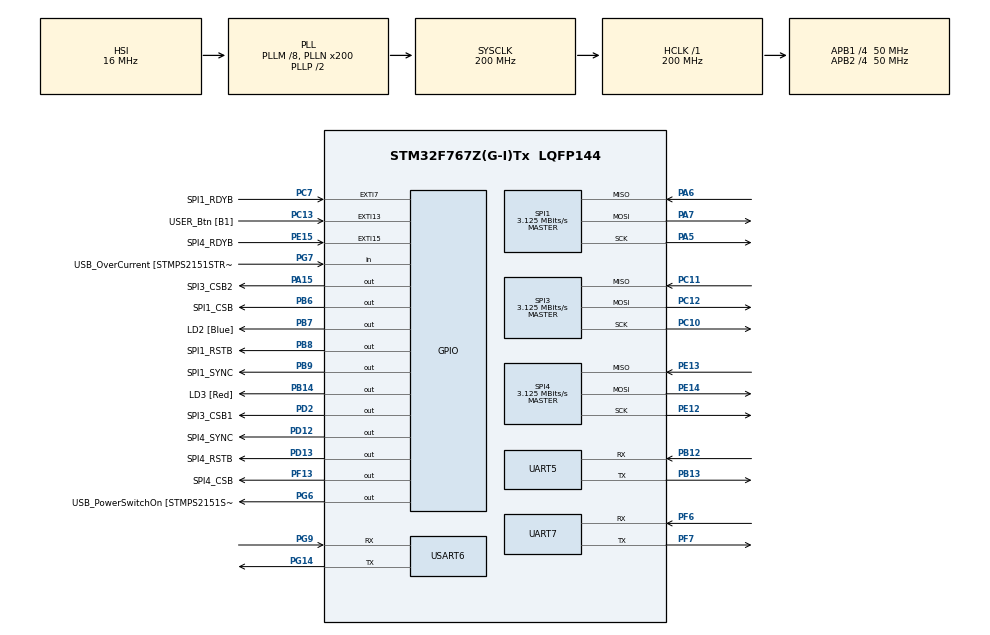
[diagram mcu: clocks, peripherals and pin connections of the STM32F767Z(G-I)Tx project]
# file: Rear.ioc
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Mcu.Family=STM32F7
Mcu.Name=STM32F767Z(G-I)Tx
Mcu.Package=LQFP144
NVIC.EXTI15_10_IRQn=true\:1\:0\:true\:false\:true\:true
NVIC.EXTI9_5_IRQn=true\:1\:0\:true\:false\:true\:true
NVIC.PriorityGroup=NVIC_PRIORITYGROUP_3
NVIC.TIM1_UP_TIM10_IRQn=true\:0\:0\:false\:false\:true\:true
NVIC.USART6_IRQn=true\:1\:0\:true\:false\:true\:true
PA1.GPIO_Label=RMII_REF_CLK [LAN8742A-CZ-TR_REFCLK0]
PA1.Signal=ETH_REF_CLK
PA10.GPIO_Label=USB_ID
PA10.Signal=USB_OTG_FS_ID
PA11.GPIO_Label=USB_DM
PA11.Signal=USB_OTG_FS_DM
PA12.GPIO_Label=USB_DP
PA12.Signal=USB_OTG_FS_DP
PA13.GPIO_Label=TMS
PA13.Signal=SYS_JTMS-SWDIO
PA14.GPIO_Label=TCK
PA14.Signal=SYS_JTCK-SWCLK
PA15.GPIO_Label=SPI3_CSB2
PA15.Signal=GPIO_Output
PA2.GPIO_Label=RMII_MDIO [LAN8742A-CZ-TR_MDIO]
PA2.Signal=ETH_MDIO
PA5.Mode=Full_Duplex_Master
PA5.Signal=SPI1_SCK
PA6.Mode=Full_Duplex_Master
PA6.Signal=SPI1_MISO
PA7.Mode=Full_Duplex_Master
PA7.Signal=SPI1_MOSI
PA8.GPIO_Label=USB_SOF [TP1]
PA8.Signal=USB_OTG_FS_SOF
PA9.GPIO_Label=USB_VBUS
PA9.Signal=USB_OTG_FS_VBUS
PB12.Mode=Asynchronous
PB12.Signal=UART5_RX
PB13.Mode=Asynchronous
PB13.Signal=UART5_TX
PB14.GPIO_Label=LD3 [Red]
PB14.Signal=GPIO_Output
PB3.GPIO_Label=SW0
PB3.Signal=SYS_JTDO-SWO
PB6.GPIO_Label=SPI1_CSB
PB6.Signal=GPIO_Output
PB7.GPIO_Label=LD2 [Blue]
PB7.Signal=GPIO_Output
PB8.GPIO_Label=SPI1_RSTB
PB8.Signal=GPIO_Output
PB9.GPIO_Label=SPI1_SYNC
PB9.Signal=GPIO_Output
PC1.GPIO_Label=RMII_MDC [LAN8742A-CZ-TR_MDC]
PC1.Signal=ETH_MDC
PC10.Mode=Full_Duplex_Master
PC10.Signal=SPI3_SCK
PC11.Mode=Full_Duplex_Master
PC11.Signal=SPI3_MISO
PC12.Mode=Full_Duplex_Master
PC12.Signal=SPI3_MOSI
PC13.GPIO_Label=USER_Btn [B1]
PC13.Signal=GPXTI13
PC14/OSC32_IN.Signal=RCC_OSC32_IN
PC15/OSC32_OUT.Signal=RCC_OSC32_OUT
PC4.GPIO_Label=RMII_RXD0 [LAN8742A-CZ-TR_RXD0]
PC4.Signal=ETH_RXD0
PC5.GPIO_Label=RMII_RXD1 [LAN8742A-CZ-TR_RXD1]
PC5.Signal=ETH_RXD1
PC7.GPIO_Label=SPI1_RDYB
PC7.GPIO_ModeDefaultEXTI=GPIO_MODE_IT_FALLING
PC7.Signal=GPXTI7
PD12.GPIO_Label=SPI4_SYNC
PD12.Signal=GPIO_Output
PD13.GPIO_Label=SPI4_RSTB
PD13.Signal=GPIO_Output
PD2.GPIO_Label=SPI3_CSB1
PD2.Signal=GPIO_Output
PD8.GPIO_Label=STLK_RX [STM32F103CBT6_PA3]
PD8.Signal=USART3_TX
PD9.GPIO_Label=STLK_TX [STM32F103CBT6_PA2]
PD9.Signal=USART3_RX
PE12.Mode=Full_Duplex_Master
PE12.Signal=SPI4_SCK
PE13.Mode=Full_Duplex_Master
PE13.Signal=SPI4_MISO
PE14.Mode=Full_Duplex_Master
PE14.Signal=SPI4_MOSI
PE15.GPIO_Label=SPI4_RDYB
PE15.GPIO_ModeDefaultEXTI=GPIO_MODE_IT_FALLING
PE15.Signal=GPXTI15
PF13.GPIO_Label=SPI4_CSB
PF13.Signal=GPIO_Output
PF6.Mode=Asynchronous
PF6.Signal=UART7_RX
PF7.Mode=Asynchronous
PF7.Signal=UART7_TX
PG11.GPIO_Label=RMII_TX_EN [LAN8742A-CZ-TR_TXEN]
PG11.Signal=ETH_TX_EN
PG13.GPIO_Label=RMII_TXD0 [LAN8742A-CZ-TR_TXD0]
PG13.Signal=ETH_TXD0
PG14.Mode=Asynchronous
PG14.Signal=USART6_TX
PG6.GPIO_Label=USB_PowerSwitchOn [STMPS2151STR_EN]
PG6.Signal=GPIO_Output
PG7.GPIO_Label=USB_OverCurrent [STMPS2151STR_FAULT]
PG7.Signal=GPIO_Input
PG9.Mode=Asynchronous
PG9.Signal=USART6_RX
PH0/OSC_IN.GPIO_Label=MCO [STM32F103CBT6_PA8]
PH0/OSC_IN.Signal=RCC_OSC_IN
PH1/OSC_OUT.GPIO_Label=RMII_MDC [LAN8742A-CZ-TR_MDC]
PH1/OSC_OUT.Signal=RCC_OSC_OUT
ProjectManager.HeapSize=0x200
ProjectManager.StackSize=0x400
ProjectManager.TargetToolchain=MDK-ARM V5
RCC.48MHZClocksFreq_Value=24000000
RCC.AHBFreq_Value=200000000
RCC.APB1CLKDivider=RCC_HCLK_DIV4
RCC.APB1Freq_Value=50000000
RCC.APB1TimFreq_Value=100000000
RCC.APB2CLKDivider=RCC_HCLK_DIV4
RCC.APB2Freq_Value=50000000
RCC.APB2TimFreq_Value=100000000
RCC.CortexFreq_Value=200000000
RCC.HCLKFreq_Value=200000000
RCC.HSE_VALUE=25000000
RCC.HSI_VALUE=16000000
RCC.LSE_VALUE=32768
RCC.PLLM=8
RCC.PLLMUL=RCC_PLL_MUL9
RCC.PLLN=200
RCC.PRESCALERUSB=RCC_USBCLKSOURCE_PLL_DIV1_5
RCC.SYSCLKFreq_VALUE=200000000
RCC.SYSCLKSource=RCC_SYSCLKSOURCE_PLLCLK
RCC.SYSCLKSourceVirtual=RCC_SYSCLKSOURCE_PLLCLK
RCC.USBFreq_Value=200000000
RCC.VCOOutputFreq_Value=400000000
SPI1.BaudRatePrescaler=SPI_BAUDRATEPRESCALER_16
SPI1.CalculateBaudRate=3.125 MBits/s
SPI1.DataSize=SPI_DATASIZE_8BIT
SPI1.Direction=SPI_DIRECTION_2LINES
SPI1.Mode=SPI_MODE_MASTER
SPI1.NSSPMode=SPI_NSS_PULSE_DISABLE
SPI1.VirtualType=VM_MASTER
SPI3.BaudRatePrescaler=SPI_BAUDRATEPRESCALER_16
SPI3.CalculateBaudRate=3.125 MBits/s
SPI3.DataSize=SPI_DATASIZE_8BIT
SPI3.Direction=SPI_DIRECTION_2LINES
SPI3.Mode=SPI_MODE_MASTER
SPI3.NSSPMode=SPI_NSS_PULSE_DISABLE
SPI3.VirtualType=VM_MASTER
SPI4.BaudRatePrescaler=SPI_BAUDRATEPRESCALER_16
SPI4.CalculateBaudRate=3.125 MBits/s
SPI4.DataSize=SPI_DATASIZE_8BIT
SPI4.Direction=SPI_DIRECTION_2LINES
SPI4.Mode=SPI_MODE_MASTER
SPI4.NSSPMode=SPI_NSS_PULSE_DISABLE
SPI4.VirtualType=VM_MASTER
TIM1.Period=99
TIM1.Prescaler=999
UART5.WordLength=WORDLENGTH_8B
UART7.WordLength=WORDLENGTH_8B
USART6.VirtualMode-Asynchronous=VM_ASYNC
USART6.WordLength=WORDLENGTH_8B
VP_TIM1_VS_ClockSourceINT.Mode=Internal
board=NUCLEO-F767ZI

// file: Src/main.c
/**
  ******************************************************************************
  * File Name          : main.c
  * Description        : Main program body
  ******************************************************************************
  ** This notice applies to any and all portions of this file
  * that are not between comment pairs USER CODE BEGIN and
  * USER CODE END. Other portions of this file, whether
  * inserted by the user or by software development tools
  * are owned by their respective copyright owners.
  *
  * COPYRIGHT(c) 2017 STMicroelectronics
  *
  * Redistribution and use in source and binary forms, with or without modification,
  * are permitted provided that the following conditions are met:
  *   1. Redistributions of source code must retain the above copyright notice,
  *      this list of conditions and the following disclaimer.
  *   2. Redistributions in binary form must reproduce the above copyright notice,
  *      this list of conditions and the following disclaimer in the documentation
  *      and/or other materials provided with the distribution.
  *   3. Neither the name of STMicroelectronics nor the names of its contributors
  *      may be used to endorse or promote products derived from this software
  *      without specific prior written permission.
  *
  * THIS SOFTWARE IS PROVIDED BY THE COPYRIGHT HOLDERS AND CONTRIBUTORS "AS IS"
  * AND ANY EXPRESS OR IMPLIED WARRANTIES, INCLUDING, BUT NOT LIMITED TO, THE
  * IMPLIED WARRANTIES OF MERCHANTABILITY AND FITNESS FOR A PARTICULAR PURPOSE ARE
  * DISCLAIMED. IN NO EVENT SHALL THE COPYRIGHT HOLDER OR CONTRIBUTORS BE LIABLE
  * FOR ANY DIRECT, INDIRECT, INCIDENTAL, SPECIAL, EXEMPLARY, OR CONSEQUENTIAL
  * DAMAGES (INCLUDING, BUT NOT LIMITED TO, PROCUREMENT OF SUBSTITUTE GOODS OR
  * SERVICES; LOSS OF USE, DATA, OR PROFITS; OR BUSINESS INTERRUPTION) HOWEVER
  * CAUSED AND ON ANY THEORY OF LIABILITY, WHETHER IN CONTRACT, STRICT LIABILITY,
  * OR TORT (INCLUDING NEGLIGENCE OR OTHERWISE) ARISING IN ANY WAY OUT OF THE USE
  * OF THIS SOFTWARE, EVEN IF ADVISED OF THE POSSIBILITY OF SUCH DAMAGE.
  *
  ******************************************************************************
  */
#include "main.h"
#include "stm32f7xx_hal.h"

/* USER CODE BEGIN Includes */

/* Device Driver */

#include "MAX11270.h"
#include "MPU9250.h"

#include "Protocol.h"
#include "buffer.h"
#include "crc.h"
//#include "VescUart.h"

/* Algorithm */

#include "Filters.h"
#include "Queue.h"

#define F_L	7800000
#define F_R	7400000
#define R_L	6600000
#define R_R	500000

/* USER CODE END Includes */

SPI_HandleTypeDef hspi1;
SPI_HandleTypeDef hspi3;
SPI_HandleTypeDef hspi4;

TIM_HandleTypeDef htim1;

UART_HandleTypeDef huart5;
UART_HandleTypeDef huart7;
UART_HandleTypeDef huart6;

/* USER CODE BEGIN PV */
/* Private variables ---------------------------------------------------------*/

MAX_SelectTypeDef hmax1;
MAX_SelectTypeDef hmax2;

MPU_SelectTypeDef hmpu1;
MPU_SelectTypeDef hmpu2;

/* USER CODE END PV */

void SystemClock_Config(void);
static void MX_GPIO_Init(void);
static void MX_USART6_UART_Init(void);
static void MX_SPI3_Init(void);
static void MX_SPI4_Init(void);
static void MX_SPI1_Init(void);
static void MX_UART7_Init(void);
static void MX_UART5_Init(void);
static void MX_TIM1_Init(void);

/* USER CODE BEGIN PFP */
/* Private function prototypes -----------------------------------------------*/

static void MAX1_Init(void);
static void MAX2_Init(void);

	/* static void MPU1_Init(void);
		*/

/* USER CODE END PFP */

/* USER CODE BEGIN 0 */

uint32_t TIM_Tick = 1;
uint32_t ms=0;

uint8_t Device[1];

uint8_t Rx_data[24];

uint32_t Strain_Gauge[4];

/* USER CODE END 0 */

int main(void)
{

  /* USER CODE BEGIN 1 */
	uint8_t R_buffer1[4], R_buffer2[4];
	uint32_t* temp_strain;
	uint64_t buffer[4];
	int i = 0;
	uint16_t j=0;

	uint16_t count=0;

  /* USER CODE END 1 */

  /* MCU Configuration----------------------------------------------------------*/

  /* Reset of all peripherals, Initializes the Flash interface and the Systick. */
  HAL_Init();

  /* Configure the system clock */
  SystemClock_Config();

  /* Initialize all configured peripherals */
  MX_GPIO_Init();
  MX_USART6_UART_Init();
  MX_SPI3_Init();
  MX_SPI4_Init();
  MX_SPI1_Init();
  MX_UART7_Init();
  MX_UART5_Init();
  MX_TIM1_Init();

  /* USER CODE BEGIN 2 */

  MAX1_Init();
  MAX2_Init();

  HAL_TIM_Base_Start_IT(&htim1);

   MAX11270_ConvCmd(&hmax1);
  MAX11270_ConvCmd(&hmax2);

  HAL_Delay(3000);

  HAL_GPIO_WritePin(LD3_GPIO_Port,LD3_Pin, GPIO_PIN_RESET);

  /* USER CODE END 2 */

  /* Infinite loop */
  /* USER CODE BEGIN WHILE */
  while (1)
  {

	HAL_UART_Receive_IT(&huart6, Rx_data, 9);

	for(i = 0; i<9;i++) {
		if(Rx_data[i] == 0x80) {
			temp_strain = Strain_Gauge;
			if(Rx_data[i+1] == 0x10)	{
				Strain_Gauge[0] = (Rx_data[i+2] << 16 | Rx_data[i+3] << 8  | Rx_data[i+4]) - buffer[0];
				break;
			}

			else if(Rx_data[i+1] == 0x11) {
				Strain_Gauge[1] = (Rx_data[i+2] << 16 | Rx_data[i+3] << 8  | Rx_data[i+4]) - buffer[1];
				break;
			}
		}
		Strain_Gauge[2] = hmax1.Value - buffer[2];
		Strain_Gauge[3] = hmax2.Value - buffer[3];

		for(i=0 ; i<4;i++) {
			if(Strain_Gauge[i] & 0xFF000000)	Strain_Gauge[i] = temp_strain[i];
		}
	}

  /* USER CODE END WHILE */

  }
}

/** System Clock Configuration
*/
void SystemClock_Config(void)
{

  RCC_OscInitTypeDef RCC_OscInitStruct;
  RCC_ClkInitTypeDef RCC_ClkInitStruct;
  RCC_PeriphCLKInitTypeDef PeriphClkInitStruct;

    /**Configure the main internal regulator output voltage
    */
  __HAL_RCC_PWR_CLK_ENABLE();

  __HAL_PWR_VOLTAGESCALING_CONFIG(PWR_REGULATOR_VOLTAGE_SCALE1);

    /**Initializes the CPU, AHB and APB busses clocks
    */
  RCC_OscInitStruct.OscillatorType = RCC_OSCILLATORTYPE_HSI;
  RCC_OscInitStruct.HSIState = RCC_HSI_ON;
  RCC_OscInitStruct.HSICalibrationValue = 16;
  RCC_OscInitStruct.PLL.PLLState = RCC_PLL_ON;
  RCC_OscInitStruct.PLL.PLLSource = RCC_PLLSOURCE_HSI;
  RCC_OscInitStruct.PLL.PLLM = 8;
  RCC_OscInitStruct.PLL.PLLN = 200;
  RCC_OscInitStruct.PLL.PLLP = RCC_PLLP_DIV2;
  RCC_OscInitStruct.PLL.PLLQ = 2;
  if (HAL_RCC_OscConfig(&RCC_OscInitStruct) != HAL_OK)
  {
    _Error_Handler(__FILE__, __LINE__);
  }

    /**Activate the Over-Drive mode
    */
  if (HAL_PWREx_EnableOverDrive() != HAL_OK)
  {
    _Error_Handler(__FILE__, __LINE__);
  }

    /**Initializes the CPU, AHB and APB busses clocks
    */
  RCC_ClkInitStruct.ClockType = RCC_CLOCKTYPE_HCLK|RCC_CLOCKTYPE_SYSCLK
                              |RCC_CLOCKTYPE_PCLK1|RCC_CLOCKTYPE_PCLK2;
  RCC_ClkInitStruct.SYSCLKSource = RCC_SYSCLKSOURCE_PLLCLK;
  RCC_ClkInitStruct.AHBCLKDivider = RCC_SYSCLK_DIV1;
  RCC_ClkInitStruct.APB1CLKDivider = RCC_HCLK_DIV4;
  RCC_ClkInitStruct.APB2CLKDivider = RCC_HCLK_DIV4;

  if (HAL_RCC_ClockConfig(&RCC_ClkInitStruct, FLASH_LATENCY_6) != HAL_OK)
  {
    _Error_Handler(__FILE__, __LINE__);
  }

  PeriphClkInitStruct.PeriphClockSelection = RCC_PERIPHCLK_USART6|RCC_PERIPHCLK_UART5
                              |RCC_PERIPHCLK_UART7;
  PeriphClkInitStruct.Uart5ClockSelection = RCC_UART5CLKSOURCE_PCLK1;
  PeriphClkInitStruct.Usart6ClockSelection = RCC_USART6CLKSOURCE_PCLK2;
  PeriphClkInitStruct.Uart7ClockSelection = RCC_UART7CLKSOURCE_PCLK1;
  if (HAL_RCCEx_PeriphCLKConfig(&PeriphClkInitStruct) != HAL_OK)
  {
    _Error_Handler(__FILE__, __LINE__);
  }

    /**Configure the Systick interrupt time
    */
  HAL_SYSTICK_Config(HAL_RCC_GetHCLKFreq()/1000);

    /**Configure the Systick
    */
  HAL_SYSTICK_CLKSourceConfig(SYSTICK_CLKSOURCE_HCLK);

  /* SysTick_IRQn interrupt configuration */
  HAL_NVIC_SetPriority(SysTick_IRQn, 0, 0);
}

/* SPI1 init function */
static void MX_SPI1_Init(void)
{

  /* SPI1 parameter configuration*/
  hspi1.Instance = SPI1;
  hspi1.Init.Mode = SPI_MODE_MASTER;
  hspi1.Init.Direction = SPI_DIRECTION_2LINES;
  hspi1.Init.DataSize = SPI_DATASIZE_8BIT;
  hspi1.Init.CLKPolarity = SPI_POLARITY_LOW;
  hspi1.Init.CLKPhase = SPI_PHASE_1EDGE;
  hspi1.Init.NSS = SPI_NSS_SOFT;
  hspi1.Init.BaudRatePrescaler = SPI_BAUDRATEPRESCALER_16;
  hspi1.Init.FirstBit = SPI_FIRSTBIT_MSB;
  hspi1.Init.TIMode = SPI_TIMODE_DISABLE;
  hspi1.Init.CRCCalculation = SPI_CRCCALCULATION_DISABLE;
  hspi1.Init.CRCPolynomial = 7;
  hspi1.Init.CRCLength = SPI_CRC_LENGTH_DATASIZE;
  hspi1.Init.NSSPMode = SPI_NSS_PULSE_DISABLE;
  if (HAL_SPI_Init(&hspi1) != HAL_OK)
  {
    _Error_Handler(__FILE__, __LINE__);
  }

}

/* SPI3 init function */
static void MX_SPI3_Init(void)
{

  /* SPI3 parameter configuration*/
  hspi3.Instance = SPI3;
  hspi3.Init.Mode = SPI_MODE_MASTER;
  hspi3.Init.Direction = SPI_DIRECTION_2LINES;
  hspi3.Init.DataSize = SPI_DATASIZE_8BIT;
  hspi3.Init.CLKPolarity = SPI_POLARITY_LOW;
  hspi3.Init.CLKPhase = SPI_PHASE_1EDGE;
  hspi3.Init.NSS = SPI_NSS_SOFT;
  hspi3.Init.BaudRatePrescaler = SPI_BAUDRATEPRESCALER_16;
  hspi3.Init.FirstBit = SPI_FIRSTBIT_MSB;
  hspi3.Init.TIMode = SPI_TIMODE_DISABLE;
  hspi3.Init.CRCCalculation = SPI_CRCCALCULATION_DISABLE;
  hspi3.Init.CRCPolynomial = 7;
  hspi3.Init.CRCLength = SPI_CRC_LENGTH_DATASIZE;
  hspi3.Init.NSSPMode = SPI_NSS_PULSE_DISABLE;
  if (HAL_SPI_Init(&hspi3) != HAL_OK)
  {
    _Error_Handler(__FILE__, __LINE__);
  }

}

/* SPI4 init function */
static void MX_SPI4_Init(void)
{

  /* SPI4 parameter configuration*/
  hspi4.Instance = SPI4;
  hspi4.Init.Mode = SPI_MODE_MASTER;
  hspi4.Init.Direction = SPI_DIRECTION_2LINES;
  hspi4.Init.DataSize = SPI_DATASIZE_8BIT;
  hspi4.Init.CLKPolarity = SPI_POLARITY_LOW;
  hspi4.Init.CLKPhase = SPI_PHASE_1EDGE;
  hspi4.Init.NSS = SPI_NSS_SOFT;
  hspi4.Init.BaudRatePrescaler = SPI_BAUDRATEPRESCALER_16;
  hspi4.Init.FirstBit = SPI_FIRSTBIT_MSB;
  hspi4.Init.TIMode = SPI_TIMODE_DISABLE;
  hspi4.Init.CRCCalculation = SPI_CRCCALCULATION_DISABLE;
  hspi4.Init.CRCPolynomial = 7;
  hspi4.Init.CRCLength = SPI_CRC_LENGTH_DATASIZE;
  hspi4.Init.NSSPMode = SPI_NSS_PULSE_DISABLE;
  if (HAL_SPI_Init(&hspi4) != HAL_OK)
  {
    _Error_Handler(__FILE__, __LINE__);
  }

}

/* TIM1 init function */
static void MX_TIM1_Init(void)
{

  TIM_ClockConfigTypeDef sClockSourceConfig;
  TIM_MasterConfigTypeDef sMasterConfig;

  htim1.Instance = TIM1;
  htim1.Init.Prescaler = 99;
  htim1.Init.CounterMode = TIM_COUNTERMODE_UP;
  htim1.Init.Period = 999;
  htim1.Init.ClockDivision = TIM_CLOCKDIVISION_DIV1;
  htim1.Init.RepetitionCounter = 0;
  htim1.Init.AutoReloadPreload = TIM_AUTORELOAD_PRELOAD_DISABLE;
  if (HAL_TIM_Base_Init(&htim1) != HAL_OK)
  {
    _Error_Handler(__FILE__, __LINE__);
  }

  sClockSourceConfig.ClockSource = TIM_CLOCKSOURCE_INTERNAL;
  if (HAL_TIM_ConfigClockSource(&htim1, &sClockSourceConfig) != HAL_OK)
  {
    _Error_Handler(__FILE__, __LINE__);
  }

  sMasterConfig.MasterOutputTrigger = TIM_TRGO_RESET;
  sMasterConfig.MasterOutputTrigger2 = TIM_TRGO2_RESET;
  sMasterConfig.MasterSlaveMode = TIM_MASTERSLAVEMODE_DISABLE;
  if (HAL_TIMEx_MasterConfigSynchronization(&htim1, &sMasterConfig) != HAL_OK)
  {
    _Error_Handler(__FILE__, __LINE__);
  }

}

/* UART5 init function */
static void MX_UART5_Init(void)
{

  huart5.Instance = UART5;
  huart5.Init.BaudRate = 115200;
  huart5.Init.WordLength = UART_WORDLENGTH_7B;
  huart5.Init.StopBits = UART_STOPBITS_1;
  huart5.Init.Parity = UART_PARITY_NONE;
  huart5.Init.Mode = UART_MODE_TX_RX;
  huart5.Init.HwFlowCtl = UART_HWCONTROL_NONE;
  huart5.Init.OverSampling = UART_OVERSAMPLING_16;
  huart5.Init.OneBitSampling = UART_ONE_BIT_SAMPLE_DISABLE;
  huart5.AdvancedInit.AdvFeatureInit = UART_ADVFEATURE_NO_INIT;
  if (HAL_UART_Init(&huart5) != HAL_OK)
  {
    _Error_Handler(__FILE__, __LINE__);
  }

}

/* UART7 init function */
static void MX_UART7_Init(void)
{

  huart7.Instance = UART7;
  huart7.Init.BaudRate = 115200;
  huart7.Init.WordLength = UART_WORDLENGTH_7B;
  huart7.Init.StopBits = UART_STOPBITS_1;
  huart7.Init.Parity = UART_PARITY_NONE;
  huart7.Init.Mode = UART_MODE_TX_RX;
  huart7.Init.HwFlowCtl = UART_HWCONTROL_NONE;
  huart7.Init.OverSampling = UART_OVERSAMPLING_16;
  huart7.Init.OneBitSampling = UART_ONE_BIT_SAMPLE_DISABLE;
  huart7.AdvancedInit.AdvFeatureInit = UART_ADVFEATURE_NO_INIT;
  if (HAL_UART_Init(&huart7) != HAL_OK)
  {
    _Error_Handler(__FILE__, __LINE__);
  }

}

/* USART6 init function */
static void MX_USART6_UART_Init(void)
{

  huart6.Instance = USART6;
  huart6.Init.BaudRate = 115200;
  huart6.Init.WordLength = UART_WORDLENGTH_8B;
  huart6.Init.StopBits = UART_STOPBITS_1;
  huart6.Init.Parity = UART_PARITY_NONE;
  huart6.Init.Mode = UART_MODE_TX_RX;
  huart6.Init.HwFlowCtl = UART_HWCONTROL_NONE;
  huart6.Init.OverSampling = UART_OVERSAMPLING_16;
  huart6.Init.OneBitSampling = UART_ONE_BIT_SAMPLE_DISABLE;
  huart6.AdvancedInit.AdvFeatureInit = UART_ADVFEATURE_NO_INIT;
  if (HAL_UART_Init(&huart6) != HAL_OK)
  {
    _Error_Handler(__FILE__, __LINE__);
  }

}

/** Configure pins as
        * Analog
        * Input
        * Output
        * EVENT_OUT
        * EXTI
     PC1   ------> ETH_MDC
     PA1   ------> ETH_REF_CLK
     PA2   ------> ETH_MDIO
     PC4   ------> ETH_RXD0
     PC5   ------> ETH_RXD1
     PD8   ------> USART3_TX
     PD9   ------> USART3_RX
     PA8   ------> USB_OTG_FS_SOF
     PA9   ------> USB_OTG_FS_VBUS
     PA10   ------> USB_OTG_FS_ID
     PA11   ------> USB_OTG_FS_DM
     PA12   ------> USB_OTG_FS_DP
     PG11   ------> ETH_TX_EN
     PG13   ------> ETH_TXD0
*/
static void MX_GPIO_Init(void)
{

  GPIO_InitTypeDef GPIO_InitStruct;

  /* GPIO Ports Clock Enable */
  __HAL_RCC_GPIOC_CLK_ENABLE();
  __HAL_RCC_GPIOF_CLK_ENABLE();
  __HAL_RCC_GPIOH_CLK_ENABLE();
  __HAL_RCC_GPIOA_CLK_ENABLE();
  __HAL_RCC_GPIOE_CLK_ENABLE();
  __HAL_RCC_GPIOB_CLK_ENABLE();
  __HAL_RCC_GPIOD_CLK_ENABLE();
  __HAL_RCC_GPIOG_CLK_ENABLE();

  /*Configure GPIO pin Output Level */
  HAL_GPIO_WritePin(SPI4_CSB_GPIO_Port, SPI4_CSB_Pin, GPIO_PIN_RESET);

  /*Configure GPIO pin Output Level */
  HAL_GPIO_WritePin(GPIOB, LD3_Pin|SPI1_CSB_Pin|LD2_Pin|SPI1_RSTB_Pin
                          |SPI1_SYNC_Pin, GPIO_PIN_RESET);

  /*Configure GPIO pin Output Level */
  HAL_GPIO_WritePin(GPIOD, SPI4_SYNC_Pin|SPI4_RSTB_Pin|SPI3_CSB1_Pin, GPIO_PIN_RESET);

  /*Configure GPIO pin Output Level */
  HAL_GPIO_WritePin(USB_PowerSwitchOn_GPIO_Port, USB_PowerSwitchOn_Pin, GPIO_PIN_RESET);

  /*Configure GPIO pin Output Level */
  HAL_GPIO_WritePin(SPI3_CSB2_GPIO_Port, SPI3_CSB2_Pin, GPIO_PIN_RESET);

  /*Configure GPIO pin : USER_Btn_Pin */
  GPIO_InitStruct.Pin = USER_Btn_Pin;
  GPIO_InitStruct.Mode = GPIO_MODE_IT_RISING;
  GPIO_InitStruct.Pull = GPIO_NOPULL;
  HAL_GPIO_Init(USER_Btn_GPIO_Port, &GPIO_InitStruct);

  /*Configure GPIO pins : RMII_MDCC1_Pin RMII_RXD0_Pin RMII_RXD1_Pin */
  GPIO_InitStruct.Pin = RMII_MDCC1_Pin|RMII_RXD0_Pin|RMII_RXD1_Pin;
  GPIO_InitStruct.Mode = GPIO_MODE_AF_PP;
  GPIO_InitStruct.Pull = GPIO_NOPULL;
  GPIO_InitStruct.Speed = GPIO_SPEED_FREQ_VERY_HIGH;
  GPIO_InitStruct.Alternate = GPIO_AF11_ETH;
  HAL_GPIO_Init(GPIOC, &GPIO_InitStruct);

  /*Configure GPIO pins : RMII_REF_CLK_Pin RMII_MDIO_Pin */
  GPIO_InitStruct.Pin = RMII_REF_CLK_Pin|RMII_MDIO_Pin;
  GPIO_InitStruct.Mode = GPIO_MODE_AF_PP;
  GPIO_InitStruct.Pull = GPIO_NOPULL;
  GPIO_InitStruct.Speed = GPIO_SPEED_FREQ_VERY_HIGH;
  GPIO_InitStruct.Alternate = GPIO_AF11_ETH;
  HAL_GPIO_Init(GPIOA, &GPIO_InitStruct);

  /*Configure GPIO pin : SPI4_CSB_Pin */
  GPIO_InitStruct.Pin = SPI4_CSB_Pin;
  GPIO_InitStruct.Mode = GPIO_MODE_OUTPUT_PP;
  GPIO_InitStruct.Pull = GPIO_NOPULL;
  GPIO_InitStruct.Speed = GPIO_SPEED_FREQ_LOW;
  HAL_GPIO_Init(SPI4_CSB_GPIO_Port, &GPIO_InitStruct);

  /*Configure GPIO pin : SPI4_RDYB_Pin */
  GPIO_InitStruct.Pin = SPI4_RDYB_Pin;
  GPIO_InitStruct.Mode = GPIO_MODE_IT_FALLING;
  GPIO_InitStruct.Pull = GPIO_NOPULL;
  HAL_GPIO_Init(SPI4_RDYB_GPIO_Port, &GPIO_InitStruct);

  /*Configure GPIO pins : LD3_Pin SPI1_CSB_Pin LD2_Pin SPI1_RSTB_Pin
                           SPI1_SYNC_Pin */
  GPIO_InitStruct.Pin = LD3_Pin|SPI1_CSB_Pin|LD2_Pin|SPI1_RSTB_Pin
                          |SPI1_SYNC_Pin;
  GPIO_InitStruct.Mode = GPIO_MODE_OUTPUT_PP;
  GPIO_InitStruct.Pull = GPIO_NOPULL;
  GPIO_InitStruct.Speed = GPIO_SPEED_FREQ_LOW;
  HAL_GPIO_Init(GPIOB, &GPIO_InitStruct);

  /*Configure GPIO pins : STLK_RX_Pin STLK_TX_Pin */
  GPIO_InitStruct.Pin = STLK_RX_Pin|STLK_TX_Pin;
  GPIO_InitStruct.Mode = GPIO_MODE_AF_PP;
  GPIO_InitStruct.Pull = GPIO_NOPULL;
  GPIO_InitStruct.Speed = GPIO_SPEED_FREQ_VERY_HIGH;
  GPIO_InitStruct.Alternate = GPIO_AF7_USART3;
  HAL_GPIO_Init(GPIOD, &GPIO_InitStruct);

  /*Configure GPIO pins : SPI4_SYNC_Pin SPI4_RSTB_Pin SPI3_CSB1_Pin */
  GPIO_InitStruct.Pin = SPI4_SYNC_Pin|SPI4_RSTB_Pin|SPI3_CSB1_Pin;
  GPIO_InitStruct.Mode = GPIO_MODE_OUTPUT_PP;
  GPIO_InitStruct.Pull = GPIO_NOPULL;
  GPIO_InitStruct.Speed = GPIO_SPEED_FREQ_LOW;
  HAL_GPIO_Init(GPIOD, &GPIO_InitStruct);

  /*Configure GPIO pin : USB_PowerSwitchOn_Pin */
  GPIO_InitStruct.Pin = USB_PowerSwitchOn_Pin;
  GPIO_InitStruct.Mode = GPIO_MODE_OUTPUT_PP;
  GPIO_InitStruct.Pull = GPIO_NOPULL;
  GPIO_InitStruct.Speed = GPIO_SPEED_FREQ_LOW;
  HAL_GPIO_Init(USB_PowerSwitchOn_GPIO_Port, &GPIO_InitStruct);

  /*Configure GPIO pin : USB_OverCurrent_Pin */
  GPIO_InitStruct.Pin = USB_OverCurrent_Pin;
  GPIO_InitStruct.Mode = GPIO_MODE_INPUT;
  GPIO_InitStruct.Pull = GPIO_NOPULL;
  HAL_GPIO_Init(USB_OverCurrent_GPIO_Port, &GPIO_InitStruct);

  /*Configure GPIO pin : SPI1_RDYB_Pin */
  GPIO_InitStruct.Pin = SPI1_RDYB_Pin;
  GPIO_InitStruct.Mode = GPIO_MODE_IT_FALLING;
  GPIO_InitStruct.Pull = GPIO_NOPULL;
  HAL_GPIO_Init(SPI1_RDYB_GPIO_Port, &GPIO_InitStruct);

  /*Configure GPIO pins : USB_SOF_Pin USB_ID_Pin USB_DM_Pin USB_DP_Pin */
  GPIO_InitStruct.Pin = USB_SOF_Pin|USB_ID_Pin|USB_DM_Pin|USB_DP_Pin;
  GPIO_InitStruct.Mode = GPIO_MODE_AF_PP;
  GPIO_InitStruct.Pull = GPIO_NOPULL;
  GPIO_InitStruct.Speed = GPIO_SPEED_FREQ_VERY_HIGH;
  GPIO_InitStruct.Alternate = GPIO_AF10_OTG_FS;
  HAL_GPIO_Init(GPIOA, &GPIO_InitStruct);

  /*Configure GPIO pin : USB_VBUS_Pin */
  GPIO_InitStruct.Pin = USB_VBUS_Pin;
  GPIO_InitStruct.Mode = GPIO_MODE_INPUT;
  GPIO_InitStruct.Pull = GPIO_NOPULL;
  HAL_GPIO_Init(USB_VBUS_GPIO_Port, &GPIO_InitStruct);

  /*Configure GPIO pin : SPI3_CSB2_Pin */
  GPIO_InitStruct.Pin = SPI3_CSB2_Pin;
  GPIO_InitStruct.Mode = GPIO_MODE_OUTPUT_PP;
  GPIO_InitStruct.Pull = GPIO_NOPULL;
  GPIO_InitStruct.Speed = GPIO_SPEED_FREQ_LOW;
  HAL_GPIO_Init(SPI3_CSB2_GPIO_Port, &GPIO_InitStruct);

  /*Configure GPIO pins : RMII_TX_EN_Pin RMII_TXD0_Pin */
  GPIO_InitStruct.Pin = RMII_TX_EN_Pin|RMII_TXD0_Pin;
  GPIO_InitStruct.Mode = GPIO_MODE_AF_PP;
  GPIO_InitStruct.Pull = GPIO_NOPULL;
  GPIO_InitStruct.Speed = GPIO_SPEED_FREQ_VERY_HIGH;
  GPIO_InitStruct.Alternate = GPIO_AF11_ETH;
  HAL_GPIO_Init(GPIOG, &GPIO_InitStruct);

  /* EXTI interrupt init*/
  HAL_NVIC_SetPriority(EXTI9_5_IRQn, 1, 0);
  HAL_NVIC_EnableIRQ(EXTI9_5_IRQn);

  HAL_NVIC_SetPriority(EXTI15_10_IRQn, 1, 0);
  HAL_NVIC_EnableIRQ(EXTI15_10_IRQn);

}

/* USER CODE BEGIN 4 */

static void MAX1_Init(void)
{
	hmax1.hspi = hspi1;

	hmax1.CSB_GPIOx = SPI1_CSB_GPIO_Port;
	hmax1.CSB_GPIO_PIN = SPI1_CSB_Pin;

	hmax1.RSTB_GPIOx = SPI1_RSTB_GPIO_Port;
	hmax1.RSTB_GPIO_PIN = SPI1_RSTB_Pin;

	hmax1.SYNC_GPIOx = SPI1_SYNC_GPIO_Port;
	hmax1.SYNC_GPIO_PIN = SPI1_SYNC_Pin;

	hmax1.RDYB_GPIOx = SPI1_RDYB_GPIO_Port;
	hmax1.RDYB_GPIO_PIN = SPI1_RDYB_Pin;

	hmax1.RATE = MAX11270_RATE1600;
	hmax1.GAIN = MAX11270_GAIN32;

	hmax1.Queue.size = 20;
	define_array(&hmax1.Queue);

	MAX11270_Init(&hmax1);
}

static void MAX2_Init(void)
{
	hmax2.hspi = hspi4;

	hmax2.CSB_GPIOx = SPI4_CSB_GPIO_Port;
	hmax2.CSB_GPIO_PIN = SPI4_CSB_Pin;

	hmax2.RSTB_GPIOx = SPI4_RSTB_GPIO_Port;
	hmax2.RSTB_GPIO_PIN = SPI4_RSTB_Pin;

	hmax2.SYNC_GPIOx = SPI4_SYNC_GPIO_Port;
	hmax2.SYNC_GPIO_PIN = SPI4_SYNC_Pin;

	hmax2.RDYB_GPIOx = SPI4_RDYB_GPIO_Port;
	hmax2.RDYB_GPIO_PIN = SPI4_RDYB_Pin;

	hmax2.RATE = hmax1.RATE;
	hmax2.GAIN = hmax1.GAIN;

	hmax2.Queue.size = hmax1.Queue.size;
	define_array(&hmax2.Queue);

	MAX11270_Init(&hmax2);

}

/* USER Callback */

void HAL_TIM_PeriodElapsedCallback(TIM_HandleTypeDef *htim) {

	if((TIM_Tick) % 50 == 0) {
		Device[0] = 0x10;
		HAL_UART_Transmit(&huart6, Device, 1,10);
	}

	if((TIM_Tick + 25) % 50 == 0) {

		Device[0] = 0x11;
		HAL_UART_Transmit(&huart6, Device, 1,10);
	}

	HAL_GPIO_TogglePin(LD2_GPIO_Port, LD2_Pin);
 	TIM_Tick++;
	if(TIM_Tick >= 1000 ) {
		TIM_Tick = 1;
		ms++;
		if(ms >= 100)	ms = 0;
	}

}

void HAL_UART_RxCpltCallback(UART_HandleTypeDef *huart) {
	uint32_t Valu;
	uint8_t Device;

	if(huart->Instance == USART6) {

	}
}

void HAL_GPIO_EXTI_Callback(uint16_t GPIO_Pin) {

		uint8_t i = 0;
		if(GPIO_Pin == SPI1_RDYB_Pin)
		{
			MAX11270_DataRead(&hmax1);

			enqueue(&hmax1.Queue, hmax1.Conv_TData);
			hmax1.Value = MoveAverage(hmax1.Value, &hmax1.Queue);

		}
		else if(GPIO_Pin == SPI4_RDYB_Pin)
		{
			MAX11270_DataRead(&hmax2);
			enqueue(&hmax2.Queue, hmax2.Conv_TData);
			hmax2.Value = MoveAverage(hmax2.Value, &hmax2.Queue);

		}

		//HAL_GPIO_TogglePin(LD3_GPIO_Port,LD3_Pin);

}

/*
static void MPU1_Init(void)
{
	hmpu1.hspi = hspi1;
	hmpu1.GPIOx = SPI1_NSS_GPIO_Port;
	hmpu1.GPIO_PIN = SPI1_NSS_Pin;
	hmpu1.my_low_pass_filter = BITS_DLPF_CFG_188HZ;
	hmpu1.my_low_pass_filter_acc = BITS_DLPF_CFG_188HZ;

	hmpu1.dt = 0.01f;
	hmpu1.angle[0] = 0;
	hmpu1.angle[1] = 0;
	hmpu1.angle[2] = 0;
}
*/

/* USER CODE END 4 */

void _Error_Handler(char * file, int line)
{
  while(1)
  {
  }
}

/************************ (C) COPYRIGHT STMicroelectronics *****END OF FILE****/
